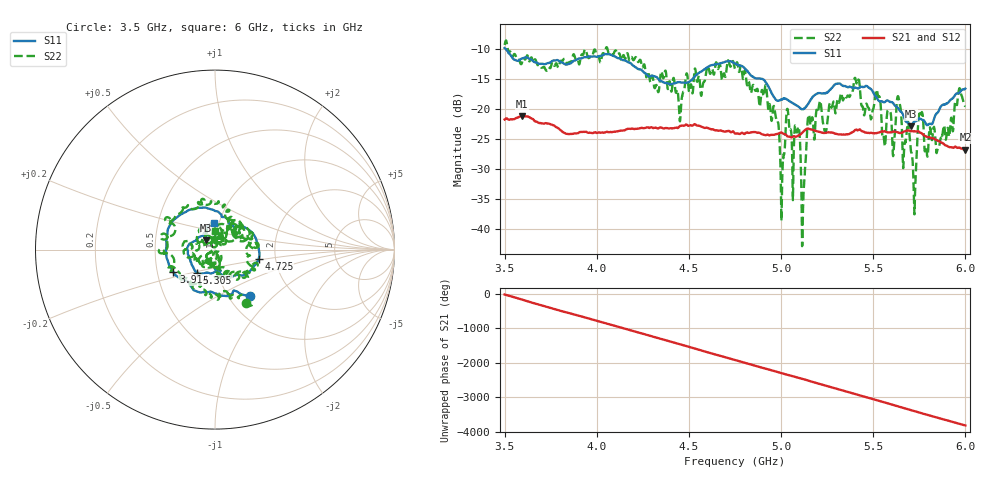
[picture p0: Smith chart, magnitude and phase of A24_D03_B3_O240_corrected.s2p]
! Created with skrf 1.9.0 (http://scikit-rf.org).
# Hz S RI R 50.0
!freq ReS11 ImS11 ReS21 ImS21 ReS12 ImS12 ReS22 ImS22
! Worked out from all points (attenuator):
!   1601 points, 3.5 GHz to 6 GHz, reference 50 ohm
!   highest |S21| = -21.22 dB at 3.592 GHz (marker M1); lowest = -26.8 dB at 6 GHz (marker M2)
!   lowest |S11| = -22.9 dB at 5.703 GHz (marker M3), VSWR 1.15, Z = 45.1 + j4.7 ohm
!   |S11| at or under -10 dB: 3.506 GHz to end of sweep
!   |S22| runs from -42.9 to -8.6 dB; largest |S21 - S12| = 0.00095
!   S11 on the Smith chart (normalised r, x): 3.5 GHz: 1.25, -0.72; 3.914 GHz: 0.61, -0.16; 4.725 GHz: 1.63, -0.19; 5.305 GHz: 0.79, -0.21; 6 GHz: 0.94, +0.28
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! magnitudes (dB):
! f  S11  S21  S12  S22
! 3.5 GHz  -9.8  -21.8  -21.8  -9.3
! 3.592 GHz  -11.6  -21.2  -21.2  -12.5
! 3.914 GHz  -11.6  -23.9  -23.8  -11.3
! 3.917 GHz  -11.6  -23.9  -23.8  -11.0
! 4.334 GHz  -15.0  -23.3  -23.2  -17.2
! 4.725 GHz  -12.1  -23.9  -23.8  -13.0
! 4.75 GHz  -12.5  -24.1  -24.0  -13.3
! 4.969 GHz  -18.4  -24.3  -24.2  -21.0
! 5.006 GHz  -18.4  -24.0  -24.0  -31.5
! 5.034 GHz  -18.5  -24.6  -24.5  -20.0
! 5.088 GHz  -19.5  -24.6  -24.5  -23.7
! 5.119 GHz  -20.0  -23.8  -23.8  -36.9
! 5.145 GHz  -19.3  -23.3  -23.3  -21.6
! 5.167 GHz  -18.2  -23.4  -23.4  -21.5
! 5.305 GHz  -15.8  -24.2  -24.2  -18.7
! 5.409 GHz  -16.5  -23.5  -23.5  -15.8
! 5.584 GHz  -18.7  -23.9  -23.9  -20.3
! 5.703 GHz  -22.9  -23.7  -23.7  -26.7
! 5.723 GHz  -22.1  -23.7  -23.7  -37.6
! 5.756 GHz  -21.7  -24.0  -23.9  -21.2
! 5.852 GHz  -20.5  -25.3  -25.3  -26.6
! 6 GHz  -16.6  -26.8  -26.8  -19.5
